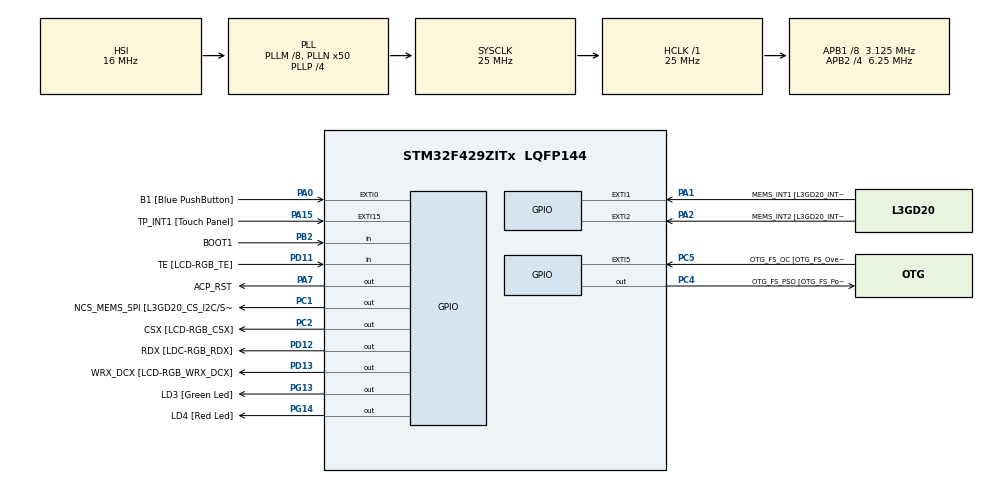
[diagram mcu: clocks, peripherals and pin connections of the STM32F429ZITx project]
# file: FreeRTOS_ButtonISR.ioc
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Mcu.Family=STM32F4
Mcu.Name=STM32F429ZITx
Mcu.Package=LQFP144
NVIC.EXTI0_IRQn=true\:6\:0\:true\:false\:true\:true\:true\:true
NVIC.PriorityGroup=NVIC_PRIORITYGROUP_4
NVIC.TIM6_DAC_IRQn=true\:0\:0\:false\:false\:true\:false\:true\:true
NVIC.TimeBase=TIM6_DAC_IRQn
NVIC.TimeBaseIP=TIM6
PA0/WKUP.GPIO_Label=B1 [Blue PushButton]
PA0/WKUP.GPIO_ModeDefaultEXTI=GPIO_MODE_IT_FALLING
PA0/WKUP.GPIO_PuPd=GPIO_NOPULL
PA0/WKUP.Signal=GPXTI0
PA1.GPIO_Label=MEMS_INT1 [L3GD20_INT1]
PA1.GPIO_ModeDefaultEXTI=GPIO_MODE_EVT_RISING
PA1.GPIO_PuPd=GPIO_NOPULL
PA1.Signal=GPXTI1
PA10.GPIO_Label=STLINK_TX [STM32F103CBT6_PA2]
PA10.Signal=USART1_RX
PA11.GPIO_Label=R4
PA11.GPIO_Mode=GPIO_MODE_AF_PP
PA11.GPIO_PuPd=GPIO_NOPULL
PA11.GPIO_Speed=GPIO_SPEED_FREQ_LOW
PA11.Signal=LTDC_R4
PA12.GPIO_Label=R5
PA12.GPIO_Mode=GPIO_MODE_AF_PP
PA12.GPIO_PuPd=GPIO_NOPULL
PA12.GPIO_Speed=GPIO_SPEED_FREQ_LOW
PA12.Signal=LTDC_R5
PA13.GPIO_Label=SWDIO
PA13.Mode=Serial_Wire
PA13.Signal=SYS_JTMS-SWDIO
PA14.GPIO_Label=SWCLK
PA14.Mode=Serial_Wire
PA14.Signal=SYS_JTCK-SWCLK
PA15.GPIO_Label=TP_INT1 [Touch Panel]
PA15.GPIO_ModeDefaultEXTI=GPIO_MODE_EVT_RISING
PA15.GPIO_PuPd=GPIO_NOPULL
PA15.Signal=GPXTI15
PA2.GPIO_Label=MEMS_INT2 [L3GD20_INT2]
PA2.GPIO_ModeDefaultEXTI=GPIO_MODE_EVT_RISING
PA2.GPIO_PuPd=GPIO_NOPULL
PA2.Signal=GPXTI2
PA3.GPIO_Label=B5
PA3.GPIO_Mode=GPIO_MODE_AF_PP
PA3.GPIO_PuPd=GPIO_NOPULL
PA3.GPIO_Speed=GPIO_SPEED_FREQ_LOW
PA3.Signal=LTDC_B5
PA4.GPIO_Label=VSYNC
PA4.GPIO_Mode=GPIO_MODE_AF_PP
PA4.GPIO_PuPd=GPIO_NOPULL
PA4.GPIO_Speed=GPIO_SPEED_FREQ_LOW
PA4.Signal=LTDC_VSYNC
PA6.GPIO_Label=G2
PA6.GPIO_Mode=GPIO_MODE_AF_PP
PA6.GPIO_PuPd=GPIO_NOPULL
PA6.GPIO_Speed=GPIO_SPEED_FREQ_LOW
PA6.Signal=LTDC_G2
PA7.GPIO_Label=ACP_RST
PA7.GPIO_Mode=GPIO_MODE_OUTPUT_PP
PA7.GPIO_PuPd=GPIO_NOPULL
PA7.GPIO_Speed=GPIO_SPEED_FREQ_LOW
PA7.Signal=GPIO_Output
PA8.GPIO_Label=I2C3_SCL [ACP/RF_SCL]
PA8.GPIO_Mode=GPIO_MODE_AF_OD
PA8.GPIO_PuPd=GPIO_NOPULL
PA8.GPIO_Speed=GPIO_SPEED_FREQ_LOW
PA8.Signal=I2C3_SCL
PA9.GPIO_Label=STLINK_RX [STM32F103CBT6_PA3]
PA9.Signal=USART1_TX
PB0.GPIO_Label=R3
PB0.GPIO_Mode=GPIO_MODE_AF_PP
PB0.GPIO_PuPd=GPIO_NOPULL
PB0.GPIO_Speed=GPIO_SPEED_FREQ_LOW
PB0.Signal=LTDC_R3
PB1.GPIO_Label=R6
PB1.GPIO_Mode=GPIO_MODE_AF_PP
PB1.GPIO_PuPd=GPIO_NOPULL
PB1.GPIO_Speed=GPIO_SPEED_FREQ_LOW
PB1.Signal=LTDC_R6
PB10.GPIO_Label=G4
PB10.GPIO_Mode=GPIO_MODE_AF_PP
PB10.GPIO_PuPd=GPIO_NOPULL
PB10.GPIO_Speed=GPIO_SPEED_FREQ_LOW
PB10.Signal=LTDC_G4
PB11.GPIO_Label=G5
PB11.GPIO_Mode=GPIO_MODE_AF_PP
PB11.GPIO_PuPd=GPIO_NOPULL
PB11.GPIO_Speed=GPIO_SPEED_FREQ_LOW
PB11.Signal=LTDC_G5
PB12.GPIO_Label=OTG_HS_ID
PB12.GPIO_Mode=GPIO_MODE_AF_PP
PB12.GPIO_PuPd=GPIO_NOPULL
PB12.GPIO_Speed=GPIO_SPEED_FREQ_LOW
PB12.Signal=USB_OTG_HS_ID
PB13.GPIO_Label=VBUS_HS
PB13.GPIO_Mode=GPIO_MODE_INPUT
PB13.GPIO_PuPd=GPIO_NOPULL
PB13.Signal=USB_OTG_HS_VBUS
PB14.GPIO_Label=OTG_HS_DM
PB14.GPIO_Mode=GPIO_MODE_AF_PP
PB14.GPIO_PuPd=GPIO_NOPULL
PB14.GPIO_Speed=GPIO_SPEED_FREQ_LOW
PB14.Signal=USB_OTG_HS_DM
PB15.GPIO_Label=OTG_HS_DP
PB15.GPIO_Mode=GPIO_MODE_AF_PP
PB15.GPIO_PuPd=GPIO_NOPULL
PB15.GPIO_Speed=GPIO_SPEED_FREQ_LOW
PB15.Signal=USB_OTG_HS_DP
PB2/BOOT1.GPIO_Label=BOOT1
PB2/BOOT1.GPIO_Mode=GPIO_MODE_INPUT
PB2/BOOT1.GPIO_PuPd=GPIO_NOPULL
PB2/BOOT1.Signal=GPIO_Input
PB5.GPIO_Label=SDCKE1
PB5.GPIO_Mode=GPIO_MODE_AF_PP
PB5.GPIO_PuPd=GPIO_NOPULL
PB5.GPIO_Speed=GPIO_SPEED_FREQ_VERY_HIGH
PB5.Signal=FMC_SDCKE1
PB6.GPIO_Label=SDNE1 [SDRAM_CS]
PB6.GPIO_Mode=GPIO_MODE_AF_PP
PB6.GPIO_PuPd=GPIO_NOPULL
PB6.GPIO_Speed=GPIO_SPEED_FREQ_VERY_HIGH
PB6.Signal=FMC_SDNE1
PB8.GPIO_Label=B6
PB8.GPIO_Mode=GPIO_MODE_AF_PP
PB8.GPIO_PuPd=GPIO_NOPULL
PB8.GPIO_Speed=GPIO_SPEED_FREQ_LOW
PB8.Signal=LTDC_B6
PB9.GPIO_Label=B7
PB9.GPIO_Mode=GPIO_MODE_AF_PP
PB9.GPIO_PuPd=GPIO_NOPULL
PB9.GPIO_Speed=GPIO_SPEED_FREQ_LOW
PB9.Signal=LTDC_B7
PC0.GPIO_Label=SDNWE
PC0.GPIO_Mode=GPIO_MODE_AF_PP
PC0.GPIO_PuPd=GPIO_NOPULL
PC0.GPIO_Speed=GPIO_SPEED_FREQ_VERY_HIGH
PC0.Signal=FMC_SDNWE
PC1.GPIO_Label=NCS_MEMS_SPI [L3GD20_CS_I2C/SPI]
PC1.GPIO_Mode=GPIO_MODE_OUTPUT_PP
PC1.GPIO_PuPd=GPIO_NOPULL
PC1.GPIO_Speed=GPIO_SPEED_FREQ_LOW
PC1.Signal=GPIO_Output
PC10.GPIO_Label=R2
PC10.GPIO_Mode=GPIO_MODE_AF_PP
PC10.GPIO_PuPd=GPIO_NOPULL
PC10.GPIO_Speed=GPIO_SPEED_FREQ_LOW
PC10.Signal=LTDC_R2
PC14/OSC32_IN.GPIO_Label=PC14-OSC32_IN
PC14/OSC32_IN.Signal=RCC_OSC32_IN
PC15/OSC32_OUT.GPIO_Label=PC15-OSC32_OUT
PC15/OSC32_OUT.Signal=RCC_OSC32_OUT
PC2.GPIO_Label=CSX [LCD-RGB_CSX]
PC2.GPIO_Mode=GPIO_MODE_OUTPUT_PP
PC2.GPIO_PuPd=GPIO_NOPULL
PC2.GPIO_Speed=GPIO_SPEED_FREQ_LOW
PC2.Signal=GPIO_Output
PC4.GPIO_Label=OTG_FS_PSO [OTG_FS_PowerSwitchOn]
PC4.GPIO_Mode=GPIO_MODE_OUTPUT_PP
PC4.GPIO_PuPd=GPIO_NOPULL
PC4.GPIO_Speed=GPIO_SPEED_FREQ_LOW
PC4.Signal=GPIO_Output
PC5.GPIO_Label=OTG_FS_OC [OTG_FS_OverCurrent]
PC5.GPIO_ModeDefaultEXTI=GPIO_MODE_EVT_RISING
PC5.Signal=GPXTI5
PC6.GPIO_Label=HSYNC
PC6.GPIO_Mode=GPIO_MODE_AF_PP
PC6.GPIO_PuPd=GPIO_NOPULL
PC6.GPIO_Speed=GPIO_SPEED_FREQ_LOW
PC6.Signal=LTDC_HSYNC
PC7.GPIO_Label=G6
PC7.GPIO_Mode=GPIO_MODE_AF_PP
PC7.GPIO_PuPd=GPIO_NOPULL
PC7.GPIO_Speed=GPIO_SPEED_FREQ_LOW
PC7.Signal=LTDC_G6
PC9.GPIO_Label=I2C3_SDA [ACP/RF_SDA]
PC9.GPIO_Mode=GPIO_MODE_AF_OD
PC9.GPIO_PuPd=GPIO_NOPULL
PC9.GPIO_Speed=GPIO_SPEED_FREQ_LOW
PC9.Signal=I2C3_SDA
PD0.GPIO_Label=D2
PD0.GPIO_Mode=GPIO_MODE_AF_PP
PD0.GPIO_PuPd=GPIO_NOPULL
PD0.GPIO_Speed=GPIO_SPEED_FREQ_VERY_HIGH
PD0.Signal=FMC_D2_DA2
PD1.GPIO_Label=D3
PD1.GPIO_Mode=GPIO_MODE_AF_PP
PD1.GPIO_PuPd=GPIO_NOPULL
PD1.GPIO_Speed=GPIO_SPEED_FREQ_VERY_HIGH
PD1.Signal=FMC_D3_DA3
PD10.GPIO_Label=D15
PD10.GPIO_Mode=GPIO_MODE_AF_PP
PD10.GPIO_PuPd=GPIO_NOPULL
PD10.GPIO_Speed=GPIO_SPEED_FREQ_VERY_HIGH
PD10.Signal=FMC_D15_DA15
PD11.GPIO_Label=TE [LCD-RGB_TE]
PD11.GPIO_Mode=GPIO_MODE_INPUT
PD11.GPIO_PuPd=GPIO_NOPULL
PD11.Signal=GPIO_Input
PD12.GPIO_Label=RDX [LDC-RGB_RDX]
PD12.GPIO_Mode=GPIO_MODE_OUTPUT_PP
PD12.GPIO_PuPd=GPIO_NOPULL
PD12.GPIO_Speed=GPIO_SPEED_FREQ_LOW
PD12.Signal=GPIO_Output
PD13.GPIO_Label=WRX_DCX [LCD-RGB_WRX_DCX]
PD13.GPIO_Mode=GPIO_MODE_OUTPUT_PP
PD13.GPIO_PuPd=GPIO_NOPULL
PD13.GPIO_Speed=GPIO_SPEED_FREQ_LOW
PD13.Signal=GPIO_Output
PD14.GPIO_Label=D0
PD14.GPIO_Mode=GPIO_MODE_AF_PP
PD14.GPIO_PuPd=GPIO_NOPULL
PD14.GPIO_Speed=GPIO_SPEED_FREQ_VERY_HIGH
PD14.Signal=FMC_D0_DA0
PD15.GPIO_Label=D1
PD15.GPIO_Mode=GPIO_MODE_AF_PP
PD15.GPIO_PuPd=GPIO_NOPULL
PD15.GPIO_Speed=GPIO_SPEED_FREQ_VERY_HIGH
PD15.Signal=FMC_D1_DA1
PD3.GPIO_Label=G7
PD3.GPIO_Mode=GPIO_MODE_AF_PP
PD3.GPIO_PuPd=GPIO_NOPULL
PD3.GPIO_Speed=GPIO_SPEED_FREQ_LOW
PD3.Signal=LTDC_G7
PD6.GPIO_Label=B2
PD6.GPIO_Mode=GPIO_MODE_AF_PP
PD6.GPIO_PuPd=GPIO_NOPULL
PD6.GPIO_Speed=GPIO_SPEED_FREQ_LOW
PD6.Signal=LTDC_B2
PD8.GPIO_Label=D13
PD8.GPIO_Mode=GPIO_MODE_AF_PP
PD8.GPIO_PuPd=GPIO_NOPULL
PD8.GPIO_Speed=GPIO_SPEED_FREQ_VERY_HIGH
PD8.Signal=FMC_D13_DA13
PD9.GPIO_Label=D14
PD9.GPIO_Mode=GPIO_MODE_AF_PP
PD9.GPIO_PuPd=GPIO_NOPULL
PD9.GPIO_Speed=GPIO_SPEED_FREQ_VERY_HIGH
PD9.Signal=FMC_D14_DA14
PE0.GPIO_Label=NBL0 [SDRAM_LDQM]
PE0.GPIO_Mode=GPIO_MODE_AF_PP
PE0.GPIO_PuPd=GPIO_NOPULL
PE0.GPIO_Speed=GPIO_SPEED_FREQ_VERY_HIGH
PE0.Signal=FMC_NBL0
PE1.GPIO_Label=NBL1 [SDRAM_UDQM]
PE1.GPIO_Mode=GPIO_MODE_AF_PP
PE1.GPIO_PuPd=GPIO_NOPULL
PE1.GPIO_Speed=GPIO_SPEED_FREQ_VERY_HIGH
PE1.Signal=FMC_NBL1
PE10.GPIO_Label=D7
PE10.GPIO_Mode=GPIO_MODE_AF_PP
PE10.GPIO_PuPd=GPIO_NOPULL
PE10.GPIO_Speed=GPIO_SPEED_FREQ_VERY_HIGH
PE10.Signal=FMC_D7_DA7
PE11.GPIO_Label=D8
PE11.GPIO_Mode=GPIO_MODE_AF_PP
PE11.GPIO_PuPd=GPIO_NOPULL
PE11.GPIO_Speed=GPIO_SPEED_FREQ_VERY_HIGH
PE11.Signal=FMC_D8_DA8
PE12.GPIO_Label=D9
PE12.GPIO_Mode=GPIO_MODE_AF_PP
PE12.GPIO_PuPd=GPIO_NOPULL
PE12.GPIO_Speed=GPIO_SPEED_FREQ_VERY_HIGH
PE12.Signal=FMC_D9_DA9
PE13.GPIO_Label=D10
PE13.GPIO_Mode=GPIO_MODE_AF_PP
PE13.GPIO_PuPd=GPIO_NOPULL
PE13.GPIO_Speed=GPIO_SPEED_FREQ_VERY_HIGH
PE13.Signal=FMC_D10_DA10
PE14.GPIO_Label=D11
PE14.GPIO_Mode=GPIO_MODE_AF_PP
PE14.GPIO_PuPd=GPIO_NOPULL
PE14.GPIO_Speed=GPIO_SPEED_FREQ_VERY_HIGH
PE14.Signal=FMC_D11_DA11
PE15.GPIO_Label=D12
PE15.GPIO_Mode=GPIO_MODE_AF_PP
PE15.GPIO_PuPd=GPIO_NOPULL
PE15.GPIO_Speed=GPIO_SPEED_FREQ_VERY_HIGH
PE15.Signal=FMC_D12_DA12
PE7.GPIO_Label=D4
PE7.GPIO_Mode=GPIO_MODE_AF_PP
PE7.GPIO_PuPd=GPIO_NOPULL
PE7.GPIO_Speed=GPIO_SPEED_FREQ_VERY_HIGH
PE7.Signal=FMC_D4_DA4
PE8.GPIO_Label=D5
PE8.GPIO_Mode=GPIO_MODE_AF_PP
PE8.GPIO_PuPd=GPIO_NOPULL
PE8.GPIO_Speed=GPIO_SPEED_FREQ_VERY_HIGH
PE8.Signal=FMC_D5_DA5
PE9.GPIO_Label=D6
PE9.GPIO_Mode=GPIO_MODE_AF_PP
PE9.GPIO_PuPd=GPIO_NOPULL
PE9.GPIO_Speed=GPIO_SPEED_FREQ_VERY_HIGH
PE9.Signal=FMC_D6_DA6
PF0.GPIO_Label=A0
PF0.GPIO_Mode=GPIO_MODE_AF_PP
PF0.GPIO_PuPd=GPIO_NOPULL
PF0.GPIO_Speed=GPIO_SPEED_FREQ_VERY_HIGH
PF0.Signal=FMC_A0
PF1.GPIO_Label=A1
PF1.GPIO_Mode=GPIO_MODE_AF_PP
PF1.GPIO_PuPd=GPIO_NOPULL
PF1.GPIO_Speed=GPIO_SPEED_FREQ_VERY_HIGH
PF1.Signal=FMC_A1
PF10.GPIO_Label=ENABLE [LCD-RGB_ENABLE]
PF10.GPIO_Mode=GPIO_MODE_AF_PP
PF10.GPIO_PuPd=GPIO_NOPULL
PF10.GPIO_Speed=GPIO_SPEED_FREQ_LOW
PF10.Signal=LTDC_DE
PF11.GPIO_Label=SDNRAS
PF11.GPIO_Mode=GPIO_MODE_AF_PP
PF11.GPIO_PuPd=GPIO_NOPULL
PF11.GPIO_Speed=GPIO_SPEED_FREQ_VERY_HIGH
PF11.Signal=FMC_SDNRAS
PF12.GPIO_Label=A6
PF12.GPIO_Mode=GPIO_MODE_AF_PP
PF12.GPIO_PuPd=GPIO_NOPULL
PF12.GPIO_Speed=GPIO_SPEED_FREQ_VERY_HIGH
PF12.Signal=FMC_A6
PF13.GPIO_Label=A7
PF13.GPIO_Mode=GPIO_MODE_AF_PP
PF13.GPIO_PuPd=GPIO_NOPULL
PF13.GPIO_Speed=GPIO_SPEED_FREQ_VERY_HIGH
PF13.Signal=FMC_A7
PF14.GPIO_Label=A8
PF14.GPIO_Mode=GPIO_MODE_AF_PP
PF14.GPIO_PuPd=GPIO_NOPULL
PF14.GPIO_Speed=GPIO_SPEED_FREQ_VERY_HIGH
PF14.Signal=FMC_A8
PF15.GPIO_Label=A9
PF15.GPIO_Mode=GPIO_MODE_AF_PP
PF15.GPIO_PuPd=GPIO_NOPULL
PF15.GPIO_Speed=GPIO_SPEED_FREQ_VERY_HIGH
PF15.Signal=FMC_A9
PF2.GPIO_Label=A2
PF2.GPIO_Mode=GPIO_MODE_AF_PP
PF2.GPIO_PuPd=GPIO_NOPULL
PF2.GPIO_Speed=GPIO_SPEED_FREQ_VERY_HIGH
PF2.Signal=FMC_A2
PF3.GPIO_Label=A3
PF3.GPIO_Mode=GPIO_MODE_AF_PP
PF3.GPIO_PuPd=GPIO_NOPULL
PF3.GPIO_Speed=GPIO_SPEED_FREQ_VERY_HIGH
PF3.Signal=FMC_A3
PF4.GPIO_Label=A4
PF4.GPIO_Mode=GPIO_MODE_AF_PP
PF4.GPIO_PuPd=GPIO_NOPULL
PF4.GPIO_Speed=GPIO_SPEED_FREQ_VERY_HIGH
PF4.Signal=FMC_A4
PF5.GPIO_Label=A5
PF5.GPIO_Mode=GPIO_MODE_AF_PP
PF5.GPIO_PuPd=GPIO_NOPULL
PF5.GPIO_Speed=GPIO_SPEED_FREQ_VERY_HIGH
PF5.Signal=FMC_A5
PF7.GPIO_Label=SPI5_SCK [L3GD20_SCL/SPC]
PF7.GPIO_Mode=GPIO_MODE_AF_PP
PF7.GPIO_PuPd=GPIO_NOPULL
PF7.GPIO_Speed=GPIO_SPEED_FREQ_LOW
PF7.Signal=SPI5_SCK
PF8.GPIO_Label=SPI5_MISO [L3GD20_SDO]
PF8.GPIO_Mode=GPIO_MODE_AF_PP
PF8.GPIO_PuPd=GPIO_NOPULL
PF8.GPIO_Speed=GPIO_SPEED_FREQ_LOW
PF8.Signal=SPI5_MISO
PF9.GPIO_Label=SPI5_MOSI [L3GD20_SDA/SDI/SDO]
PF9.GPIO_Mode=GPIO_MODE_AF_PP
PF9.GPIO_PuPd=GPIO_NOPULL
PF9.GPIO_Speed=GPIO_SPEED_FREQ_LOW
PF9.Signal=SPI5_MOSI
PG0.GPIO_Label=A10
PG0.GPIO_Mode=GPIO_MODE_AF_PP
PG0.GPIO_PuPd=GPIO_NOPULL
PG0.GPIO_Speed=GPIO_SPEED_FREQ_VERY_HIGH
PG0.Signal=FMC_A10
PG1.GPIO_Label=A11
PG1.GPIO_Mode=GPIO_MODE_AF_PP
PG1.GPIO_PuPd=GPIO_NOPULL
PG1.GPIO_Speed=GPIO_SPEED_FREQ_VERY_HIGH
PG1.Signal=FMC_A11
PG10.GPIO_Label=G3
PG10.GPIO_Mode=GPIO_MODE_AF_PP
PG10.GPIO_PuPd=GPIO_NOPULL
PG10.GPIO_Speed=GPIO_SPEED_FREQ_LOW
PG10.Signal=LTDC_G3
PG11.GPIO_Label=B3
PG11.GPIO_Mode=GPIO_MODE_AF_PP
PG11.GPIO_PuPd=GPIO_NOPULL
PG11.GPIO_Speed=GPIO_SPEED_FREQ_LOW
PG11.Signal=LTDC_B3
PG12.GPIO_Label=B4
PG12.GPIO_Mode=GPIO_MODE_AF_PP
PG12.GPIO_PuPd=GPIO_NOPULL
PG12.GPIO_Speed=GPIO_SPEED_FREQ_LOW
PG12.Signal=LTDC_B4
PG13.GPIO_Label=LD3 [Green Led]
PG13.GPIO_Mode=GPIO_MODE_OUTPUT_PP
PG13.GPIO_PuPd=GPIO_NOPULL
PG13.GPIO_Speed=GPIO_SPEED_FREQ_LOW
PG13.Signal=GPIO_Output
PG14.GPIO_Label=LD4 [Red Led]
PG14.GPIO_Mode=GPIO_MODE_OUTPUT_PP
PG14.GPIO_PuPd=GPIO_NOPULL
PG14.GPIO_Speed=GPIO_SPEED_FREQ_LOW
PG14.Signal=GPIO_Output
PG15.GPIO_Label=SDNCAS
PG15.GPIO_Mode=GPIO_MODE_AF_PP
PG15.GPIO_PuPd=GPIO_NOPULL
PG15.GPIO_Speed=GPIO_SPEED_FREQ_VERY_HIGH
PG15.Signal=FMC_SDNCAS
PG4.GPIO_Label=BA0
PG4.GPIO_Mode=GPIO_MODE_AF_PP
PG4.GPIO_PuPd=GPIO_NOPULL
PG4.GPIO_Speed=GPIO_SPEED_FREQ_VERY_HIGH
PG4.Signal=FMC_A14_BA0
PG5.GPIO_Label=BA1
PG5.GPIO_Mode=GPIO_MODE_AF_PP
PG5.GPIO_PuPd=GPIO_NOPULL
PG5.GPIO_Speed=GPIO_SPEED_FREQ_VERY_HIGH
PG5.Signal=FMC_A15_BA1
PG6.GPIO_Label=R7
PG6.GPIO_Mode=GPIO_MODE_AF_PP
PG6.GPIO_PuPd=GPIO_NOPULL
PG6.GPIO_Speed=GPIO_SPEED_FREQ_LOW
PG6.Signal=LTDC_R7
PG7.GPIO_Label=DOTCLK [LCT-RGB_DOTCLK]
PG7.GPIO_Mode=GPIO_MODE_AF_PP
PG7.GPIO_PuPd=GPIO_NOPULL
PG7.GPIO_Speed=GPIO_SPEED_FREQ_LOW
PG7.Signal=LTDC_CLK
PG8.GPIO_Label=SDCLK
PG8.GPIO_Mode=GPIO_MODE_AF_PP
PG8.GPIO_PuPd=GPIO_NOPULL
PG8.GPIO_Speed=GPIO_SPEED_FREQ_VERY_HIGH
PG8.Signal=FMC_SDCLK
PH0/OSC_IN.GPIO_Label=PH0-OSC_IN
PH0/OSC_IN.Signal=RCC_OSC_IN
PH1/OSC_OUT.GPIO_Label=PH1-OSC_OUT
PH1/OSC_OUT.Signal=RCC_OSC_OUT
ProjectManager.HeapSize=0x200
ProjectManager.StackSize=0x400
ProjectManager.TargetToolchain=STM32CubeIDE
RCC.48MHZClocksFreq_Value=14285714.285714285
RCC.AHBFreq_Value=25000000
RCC.APB1CLKDivider=RCC_HCLK_DIV8
RCC.APB1Freq_Value=3125000
RCC.APB1TimFreq_Value=6250000
RCC.APB2CLKDivider=RCC_HCLK_DIV4
RCC.APB2Freq_Value=6250000
RCC.APB2TimFreq_Value=12500000
RCC.CortexFreq_Value=25000000
RCC.HCLKFreq_Value=25000000
RCC.HSE_VALUE=8000000
RCC.HSI_VALUE=16000000
RCC.LSE_VALUE=32768
RCC.PLLM=8
RCC.PLLN=50
RCC.PLLP=RCC_PLLP_DIV4
RCC.PLLQ=7
RCC.SYSCLKFreq_VALUE=25000000
RCC.SYSCLKSource=RCC_SYSCLKSOURCE_PLLCLK
RCC.VCOOutputFreq_Value=100000000
SH.FMC_A0.0=FMC_A0
SH.FMC_A1.0=FMC_A1
SH.FMC_A10.0=FMC_A10
SH.FMC_A11.0=FMC_A11
SH.FMC_A14_BA0.0=FMC_BA0
SH.FMC_A15_BA1.0=FMC_BA1
SH.FMC_A2.0=FMC_A2
SH.FMC_A3.0=FMC_A3
SH.FMC_A4.0=FMC_A4
SH.FMC_A5.0=FMC_A5
SH.FMC_A6.0=FMC_A6
SH.FMC_A7.0=FMC_A7
SH.FMC_A8.0=FMC_A8
SH.FMC_A9.0=FMC_A9
SH.FMC_D0_DA0.0=FMC_D0
SH.FMC_D10_DA10.0=FMC_D10
SH.FMC_D11_DA11.0=FMC_D11
SH.FMC_D12_DA12.0=FMC_D12
SH.FMC_D13_DA13.0=FMC_D13
SH.FMC_D14_DA14.0=FMC_D14
SH.FMC_D15_DA15.0=FMC_D15
SH.FMC_D1_DA1.0=FMC_D1
SH.FMC_D2_DA2.0=FMC_D2
SH.FMC_D3_DA3.0=FMC_D3
SH.FMC_D4_DA4.0=FMC_D4
SH.FMC_D5_DA5.0=FMC_D5
SH.FMC_D6_DA6.0=FMC_D6
SH.FMC_D7_DA7.0=FMC_D7
SH.FMC_D8_DA8.0=FMC_D8
SH.FMC_D9_DA9.0=FMC_D9
SH.FMC_NBL0.0=FMC_NBL0
SH.FMC_NBL1.0=FMC_NBL1
SH.FMC_SDCLK.0=FMC_SDCLK
SH.FMC_SDNCAS.0=FMC_SDNCAS
SH.FMC_SDNRAS.0=FMC_SDNRAS
SH.FMC_SDNWE.0=FMC_SDNWE
VP_SYS_VS_tim6.Mode=TIM6
board=STM32F429I-DISC1

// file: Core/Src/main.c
/* USER CODE BEGIN Header */
/**
  ******************************************************************************
  * @file           : main.c
  * @brief          : Main program body
  ******************************************************************************
  * @attention
  *
  * Copyright (c) 2022 STMicroelectronics.
  * All rights reserved.
  *
  * This software is licensed under terms that can be found in the LICENSE file
  * in the root directory of this software component.
  * If no LICENSE file comes with this software, it is provided AS-IS.
  *
  ******************************************************************************
  */
/* USER CODE END Header */
#include "main.h"

/* USER CODE BEGIN Includes */
#include "FreeRTOS.h"
#include "task.h"
#include <stdio.h>
#include "SEGGER_SYSVIEW.h"
/* USER CODE END Includes */

/* USER CODE BEGIN PM */
#define DWT_CTRL            (*(volatile uint32_t*)0xE0001000u)
/* USER CODE END PM */

void SystemClock_Config(void);
static void MX_GPIO_Init(void);
/* USER CODE BEGIN PFP */
static void GreenLED_TaskHandler( void* parameter);
static void RedLED_TaskHandler( void* parameter );
/* USER CODE END PFP */

/* USER CODE BEGIN 0 */
/* We need task handles to delete the tasks */
TaskHandle_t green_led_task_handle;
TaskHandle_t red_led_task_handle;
/* This is a global task handler to hold the handle of the next task to be deleted*/
volatile TaskHandle_t next_task_handle = NULL;
/* USER CODE END 0 */

int main(void)
{
  /* USER CODE BEGIN 1 */
  BaseType_t status;
  /* USER CODE END 1 */

  /* MCU Configuration--------------------------------------------------------*/

  /* Reset of all peripherals, Initializes the Flash interface and the Systick. */
  HAL_Init();

  /* Configure the system clock */
  SystemClock_Config();

  /* Initialize all configured peripherals */
  MX_GPIO_Init();
  /* USER CODE BEGIN 2 */
  /* Enable the Cycle Counter i.e. CYCCNT */
  DWT_CTRL |= (0x01 << 0);

  /* SystemView should be configured and start before using any FreeRTOS API's */
  SEGGER_SYSVIEW_Conf();
  SEGGER_SYSVIEW_Start();

  /* Create Task-1*/
  status = xTaskCreate(GreenLED_TaskHandler, "Green LED", 200, NULL, 2, &green_led_task_handle);
  configASSERT(status == pdPASS);
  /* Create Task-2*/
  status = xTaskCreate(RedLED_TaskHandler, "Red LED", 200, NULL, 2, &red_led_task_handle );
  configASSERT(status == pdPASS);

  /* Store the next on which we have to take action of deleting */
  next_task_handle = green_led_task_handle;

  /* Start the Scheduler */
  vTaskStartScheduler();
  /* control shouldn't come here, if it is coming then there is some problem */
  /* this failure can happen due to insufficient memory in heap */
  /* USER CODE END 2 */

  /* Infinite loop */
  while (1)
  {

  }
}

void SystemClock_Config(void)
{
  RCC_OscInitTypeDef RCC_OscInitStruct = {0};
  RCC_ClkInitTypeDef RCC_ClkInitStruct = {0};

  /** Configure the main internal regulator output voltage
  */
  __HAL_RCC_PWR_CLK_ENABLE();
  __HAL_PWR_VOLTAGESCALING_CONFIG(PWR_REGULATOR_VOLTAGE_SCALE3);

  /** Initializes the RCC Oscillators according to the specified parameters
  * in the RCC_OscInitTypeDef structure.
  */
  RCC_OscInitStruct.OscillatorType = RCC_OSCILLATORTYPE_HSI;
  RCC_OscInitStruct.HSIState = RCC_HSI_ON;
  RCC_OscInitStruct.HSICalibrationValue = RCC_HSICALIBRATION_DEFAULT;
  RCC_OscInitStruct.PLL.PLLState = RCC_PLL_ON;
  RCC_OscInitStruct.PLL.PLLSource = RCC_PLLSOURCE_HSI;
  RCC_OscInitStruct.PLL.PLLM = 8;
  RCC_OscInitStruct.PLL.PLLN = 50;
  RCC_OscInitStruct.PLL.PLLP = RCC_PLLP_DIV4;
  RCC_OscInitStruct.PLL.PLLQ = 7;
  if (HAL_RCC_OscConfig(&RCC_OscInitStruct) != HAL_OK)
  {
    Error_Handler();
  }

  /** Initializes the CPU, AHB and APB buses clocks
  */
  RCC_ClkInitStruct.ClockType = RCC_CLOCKTYPE_HCLK|RCC_CLOCKTYPE_SYSCLK
                              |RCC_CLOCKTYPE_PCLK1|RCC_CLOCKTYPE_PCLK2;
  RCC_ClkInitStruct.SYSCLKSource = RCC_SYSCLKSOURCE_PLLCLK;
  RCC_ClkInitStruct.AHBCLKDivider = RCC_SYSCLK_DIV1;
  RCC_ClkInitStruct.APB1CLKDivider = RCC_HCLK_DIV8;
  RCC_ClkInitStruct.APB2CLKDivider = RCC_HCLK_DIV4;

  if (HAL_RCC_ClockConfig(&RCC_ClkInitStruct, FLASH_LATENCY_0) != HAL_OK)
  {
    Error_Handler();
  }
}

static void MX_GPIO_Init(void)
{
  GPIO_InitTypeDef GPIO_InitStruct = {0};

  /* GPIO Ports Clock Enable */
  __HAL_RCC_GPIOC_CLK_ENABLE();
  __HAL_RCC_GPIOF_CLK_ENABLE();
  __HAL_RCC_GPIOH_CLK_ENABLE();
  __HAL_RCC_GPIOA_CLK_ENABLE();
  __HAL_RCC_GPIOB_CLK_ENABLE();
  __HAL_RCC_GPIOG_CLK_ENABLE();
  __HAL_RCC_GPIOE_CLK_ENABLE();
  __HAL_RCC_GPIOD_CLK_ENABLE();

  /*Configure GPIO pin Output Level */
  HAL_GPIO_WritePin(GPIOC, NCS_MEMS_SPI_Pin|CSX_Pin|OTG_FS_PSO_Pin, GPIO_PIN_RESET);

  /*Configure GPIO pin Output Level */
  HAL_GPIO_WritePin(ACP_RST_GPIO_Port, ACP_RST_Pin, GPIO_PIN_RESET);

  /*Configure GPIO pin Output Level */
  HAL_GPIO_WritePin(GPIOD, RDX_Pin|WRX_DCX_Pin, GPIO_PIN_RESET);

  /*Configure GPIO pin Output Level */
  HAL_GPIO_WritePin(GPIOG, LD3_Pin|LD4_Pin, GPIO_PIN_RESET);

  /*Configure GPIO pins : A0_Pin A1_Pin A2_Pin A3_Pin
                           A4_Pin A5_Pin SDNRAS_Pin A6_Pin
                           A7_Pin A8_Pin A9_Pin */
  GPIO_InitStruct.Pin = A0_Pin|A1_Pin|A2_Pin|A3_Pin
                          |A4_Pin|A5_Pin|SDNRAS_Pin|A6_Pin
                          |A7_Pin|A8_Pin|A9_Pin;
  GPIO_InitStruct.Mode = GPIO_MODE_AF_PP;
  GPIO_InitStruct.Pull = GPIO_NOPULL;
  GPIO_InitStruct.Speed = GPIO_SPEED_FREQ_VERY_HIGH;
  GPIO_InitStruct.Alternate = GPIO_AF12_FMC;
  HAL_GPIO_Init(GPIOF, &GPIO_InitStruct);

  /*Configure GPIO pins : SPI5_SCK_Pin SPI5_MISO_Pin SPI5_MOSI_Pin */
  GPIO_InitStruct.Pin = SPI5_SCK_Pin|SPI5_MISO_Pin|SPI5_MOSI_Pin;
  GPIO_InitStruct.Mode = GPIO_MODE_AF_PP;
  GPIO_InitStruct.Pull = GPIO_NOPULL;
  GPIO_InitStruct.Speed = GPIO_SPEED_FREQ_LOW;
  GPIO_InitStruct.Alternate = GPIO_AF5_SPI5;
  HAL_GPIO_Init(GPIOF, &GPIO_InitStruct);

  /*Configure GPIO pin : ENABLE_Pin */
  GPIO_InitStruct.Pin = ENABLE_Pin;
  GPIO_InitStruct.Mode = GPIO_MODE_AF_PP;
  GPIO_InitStruct.Pull = GPIO_NOPULL;
  GPIO_InitStruct.Speed = GPIO_SPEED_FREQ_LOW;
  GPIO_InitStruct.Alternate = GPIO_AF14_LTDC;
  HAL_GPIO_Init(ENABLE_GPIO_Port, &GPIO_InitStruct);

  /*Configure GPIO pin : SDNWE_Pin */
  GPIO_InitStruct.Pin = SDNWE_Pin;
  GPIO_InitStruct.Mode = GPIO_MODE_AF_PP;
  GPIO_InitStruct.Pull = GPIO_NOPULL;
  GPIO_InitStruct.Speed = GPIO_SPEED_FREQ_VERY_HIGH;
  GPIO_InitStruct.Alternate = GPIO_AF12_FMC;
  HAL_GPIO_Init(SDNWE_GPIO_Port, &GPIO_InitStruct);

  /*Configure GPIO pins : NCS_MEMS_SPI_Pin CSX_Pin OTG_FS_PSO_Pin */
  GPIO_InitStruct.Pin = NCS_MEMS_SPI_Pin|CSX_Pin|OTG_FS_PSO_Pin;
  GPIO_InitStruct.Mode = GPIO_MODE_OUTPUT_PP;
  GPIO_InitStruct.Pull = GPIO_NOPULL;
  GPIO_InitStruct.Speed = GPIO_SPEED_FREQ_LOW;
  HAL_GPIO_Init(GPIOC, &GPIO_InitStruct);

  /*Configure GPIO pin : B1_Pin */
  GPIO_InitStruct.Pin = B1_Pin;
  GPIO_InitStruct.Mode = GPIO_MODE_IT_FALLING;
  GPIO_InitStruct.Pull = GPIO_NOPULL;
  HAL_GPIO_Init(B1_GPIO_Port, &GPIO_InitStruct);

  /*Configure GPIO pins : MEMS_INT1_Pin MEMS_INT2_Pin TP_INT1_Pin */
  GPIO_InitStruct.Pin = MEMS_INT1_Pin|MEMS_INT2_Pin|TP_INT1_Pin;
  GPIO_InitStruct.Mode = GPIO_MODE_EVT_RISING;
  GPIO_InitStruct.Pull = GPIO_NOPULL;
  HAL_GPIO_Init(GPIOA, &GPIO_InitStruct);

  /*Configure GPIO pins : B5_Pin VSYNC_Pin G2_Pin R4_Pin
                           R5_Pin */
  GPIO_InitStruct.Pin = B5_Pin|VSYNC_Pin|G2_Pin|R4_Pin
                          |R5_Pin;
  GPIO_InitStruct.Mode = GPIO_MODE_AF_PP;
  GPIO_InitStruct.Pull = GPIO_NOPULL;
  GPIO_InitStruct.Speed = GPIO_SPEED_FREQ_LOW;
  GPIO_InitStruct.Alternate = GPIO_AF14_LTDC;
  HAL_GPIO_Init(GPIOA, &GPIO_InitStruct);

  /*Configure GPIO pin : ACP_RST_Pin */
  GPIO_InitStruct.Pin = ACP_RST_Pin;
  GPIO_InitStruct.Mode = GPIO_MODE_OUTPUT_PP;
  GPIO_InitStruct.Pull = GPIO_NOPULL;
  GPIO_InitStruct.Speed = GPIO_SPEED_FREQ_LOW;
  HAL_GPIO_Init(ACP_RST_GPIO_Port, &GPIO_InitStruct);

  /*Configure GPIO pin : OTG_FS_OC_Pin */
  GPIO_InitStruct.Pin = OTG_FS_OC_Pin;
  GPIO_InitStruct.Mode = GPIO_MODE_EVT_RISING;
  GPIO_InitStruct.Pull = GPIO_NOPULL;
  HAL_GPIO_Init(OTG_FS_OC_GPIO_Port, &GPIO_InitStruct);

  /*Configure GPIO pins : R3_Pin R6_Pin */
  GPIO_InitStruct.Pin = R3_Pin|R6_Pin;
  GPIO_InitStruct.Mode = GPIO_MODE_AF_PP;
  GPIO_InitStruct.Pull = GPIO_NOPULL;
  GPIO_InitStruct.Speed = GPIO_SPEED_FREQ_LOW;
  GPIO_InitStruct.Alternate = GPIO_AF9_LTDC;
  HAL_GPIO_Init(GPIOB, &GPIO_InitStruct);

  /*Configure GPIO pin : BOOT1_Pin */
  GPIO_InitStruct.Pin = BOOT1_Pin;
  GPIO_InitStruct.Mode = GPIO_MODE_INPUT;
  GPIO_InitStruct.Pull = GPIO_NOPULL;
  HAL_GPIO_Init(BOOT1_GPIO_Port, &GPIO_InitStruct);

  /*Configure GPIO pins : A10_Pin A11_Pin BA0_Pin BA1_Pin
                           SDCLK_Pin SDNCAS_Pin */
  GPIO_InitStruct.Pin = A10_Pin|A11_Pin|BA0_Pin|BA1_Pin
                          |SDCLK_Pin|SDNCAS_Pin;
  GPIO_InitStruct.Mode = GPIO_MODE_AF_PP;
  GPIO_InitStruct.Pull = GPIO_NOPULL;
  GPIO_InitStruct.Speed = GPIO_SPEED_FREQ_VERY_HIGH;
  GPIO_InitStruct.Alternate = GPIO_AF12_FMC;
  HAL_GPIO_Init(GPIOG, &GPIO_InitStruct);

  /*Configure GPIO pins : D4_Pin D5_Pin D6_Pin D7_Pin
                           D8_Pin D9_Pin D10_Pin D11_Pin
                           D12_Pin NBL0_Pin NBL1_Pin */
  GPIO_InitStruct.Pin = D4_Pin|D5_Pin|D6_Pin|D7_Pin
                          |D8_Pin|D9_Pin|D10_Pin|D11_Pin
                          |D12_Pin|NBL0_Pin|NBL1_Pin;
  GPIO_InitStruct.Mode = GPIO_MODE_AF_PP;
  GPIO_InitStruct.Pull = GPIO_NOPULL;
  GPIO_InitStruct.Speed = GPIO_SPEED_FREQ_VERY_HIGH;
  GPIO_InitStruct.Alternate = GPIO_AF12_FMC;
  HAL_GPIO_Init(GPIOE, &GPIO_InitStruct);

  /*Configure GPIO pins : G4_Pin G5_Pin B6_Pin B7_Pin */
  GPIO_InitStruct.Pin = G4_Pin|G5_Pin|B6_Pin|B7_Pin;
  GPIO_InitStruct.Mode = GPIO_MODE_AF_PP;
  GPIO_InitStruct.Pull = GPIO_NOPULL;
  GPIO_InitStruct.Speed = GPIO_SPEED_FREQ_LOW;
  GPIO_InitStruct.Alternate = GPIO_AF14_LTDC;
  HAL_GPIO_Init(GPIOB, &GPIO_InitStruct);

  /*Configure GPIO pins : OTG_HS_ID_Pin OTG_HS_DM_Pin OTG_HS_DP_Pin */
  GPIO_InitStruct.Pin = OTG_HS_ID_Pin|OTG_HS_DM_Pin|OTG_HS_DP_Pin;
  GPIO_InitStruct.Mode = GPIO_MODE_AF_PP;
  GPIO_InitStruct.Pull = GPIO_NOPULL;
  GPIO_InitStruct.Speed = GPIO_SPEED_FREQ_LOW;
  GPIO_InitStruct.Alternate = GPIO_AF12_OTG_HS_FS;
  HAL_GPIO_Init(GPIOB, &GPIO_InitStruct);

  /*Configure GPIO pin : VBUS_HS_Pin */
  GPIO_InitStruct.Pin = VBUS_HS_Pin;
  GPIO_InitStruct.Mode = GPIO_MODE_INPUT;
  GPIO_InitStruct.Pull = GPIO_NOPULL;
  HAL_GPIO_Init(VBUS_HS_GPIO_Port, &GPIO_InitStruct);

  /*Configure GPIO pins : D13_Pin D14_Pin D15_Pin D0_Pin
                           D1_Pin D2_Pin D3_Pin */
  GPIO_InitStruct.Pin = D13_Pin|D14_Pin|D15_Pin|D0_Pin
                          |D1_Pin|D2_Pin|D3_Pin;
  GPIO_InitStruct.Mode = GPIO_MODE_AF_PP;
  GPIO_InitStruct.Pull = GPIO_NOPULL;
  GPIO_InitStruct.Speed = GPIO_SPEED_FREQ_VERY_HIGH;
  GPIO_InitStruct.Alternate = GPIO_AF12_FMC;
  HAL_GPIO_Init(GPIOD, &GPIO_InitStruct);

  /*Configure GPIO pin : TE_Pin */
  GPIO_InitStruct.Pin = TE_Pin;
  GPIO_InitStruct.Mode = GPIO_MODE_INPUT;
  GPIO_InitStruct.Pull = GPIO_NOPULL;
  HAL_GPIO_Init(TE_GPIO_Port, &GPIO_InitStruct);

  /*Configure GPIO pins : RDX_Pin WRX_DCX_Pin */
  GPIO_InitStruct.Pin = RDX_Pin|WRX_DCX_Pin;
  GPIO_InitStruct.Mode = GPIO_MODE_OUTPUT_PP;
  GPIO_InitStruct.Pull = GPIO_NOPULL;
  GPIO_InitStruct.Speed = GPIO_SPEED_FREQ_LOW;
  HAL_GPIO_Init(GPIOD, &GPIO_InitStruct);

  /*Configure GPIO pins : R7_Pin DOTCLK_Pin B3_Pin */
  GPIO_InitStruct.Pin = R7_Pin|DOTCLK_Pin|B3_Pin;
  GPIO_InitStruct.Mode = GPIO_MODE_AF_PP;
  GPIO_InitStruct.Pull = GPIO_NOPULL;
  GPIO_InitStruct.Speed = GPIO_SPEED_FREQ_LOW;
  GPIO_InitStruct.Alternate = GPIO_AF14_LTDC;
  HAL_GPIO_Init(GPIOG, &GPIO_InitStruct);

  /*Configure GPIO pins : HSYNC_Pin G6_Pin R2_Pin */
  GPIO_InitStruct.Pin = HSYNC_Pin|G6_Pin|R2_Pin;
  GPIO_InitStruct.Mode = GPIO_MODE_AF_PP;
  GPIO_InitStruct.Pull = GPIO_NOPULL;
  GPIO_InitStruct.Speed = GPIO_SPEED_FREQ_LOW;
  GPIO_InitStruct.Alternate = GPIO_AF14_LTDC;
  HAL_GPIO_Init(GPIOC, &GPIO_InitStruct);

  /*Configure GPIO pin : I2C3_SDA_Pin */
  GPIO_InitStruct.Pin = I2C3_SDA_Pin;
  GPIO_InitStruct.Mode = GPIO_MODE_AF_OD;
  GPIO_InitStruct.Pull = GPIO_NOPULL;
  GPIO_InitStruct.Speed = GPIO_SPEED_FREQ_LOW;
  GPIO_InitStruct.Alternate = GPIO_AF4_I2C3;
  HAL_GPIO_Init(I2C3_SDA_GPIO_Port, &GPIO_InitStruct);

  /*Configure GPIO pin : I2C3_SCL_Pin */
  GPIO_InitStruct.Pin = I2C3_SCL_Pin;
  GPIO_InitStruct.Mode = GPIO_MODE_AF_OD;
  GPIO_InitStruct.Pull = GPIO_NOPULL;
  GPIO_InitStruct.Speed = GPIO_SPEED_FREQ_LOW;
  GPIO_InitStruct.Alternate = GPIO_AF4_I2C3;
  HAL_GPIO_Init(I2C3_SCL_GPIO_Port, &GPIO_InitStruct);

  /*Configure GPIO pins : STLINK_RX_Pin STLINK_TX_Pin */
  GPIO_InitStruct.Pin = STLINK_RX_Pin|STLINK_TX_Pin;
  GPIO_InitStruct.Mode = GPIO_MODE_AF_PP;
  GPIO_InitStruct.Pull = GPIO_NOPULL;
  GPIO_InitStruct.Speed = GPIO_SPEED_FREQ_VERY_HIGH;
  GPIO_InitStruct.Alternate = GPIO_AF7_USART1;
  HAL_GPIO_Init(GPIOA, &GPIO_InitStruct);

  /*Configure GPIO pins : G7_Pin B2_Pin */
  GPIO_InitStruct.Pin = G7_Pin|B2_Pin;
  GPIO_InitStruct.Mode = GPIO_MODE_AF_PP;
  GPIO_InitStruct.Pull = GPIO_NOPULL;
  GPIO_InitStruct.Speed = GPIO_SPEED_FREQ_LOW;
  GPIO_InitStruct.Alternate = GPIO_AF14_LTDC;
  HAL_GPIO_Init(GPIOD, &GPIO_InitStruct);

  /*Configure GPIO pins : G3_Pin B4_Pin */
  GPIO_InitStruct.Pin = G3_Pin|B4_Pin;
  GPIO_InitStruct.Mode = GPIO_MODE_AF_PP;
  GPIO_InitStruct.Pull = GPIO_NOPULL;
  GPIO_InitStruct.Speed = GPIO_SPEED_FREQ_LOW;
  GPIO_InitStruct.Alternate = GPIO_AF9_LTDC;
  HAL_GPIO_Init(GPIOG, &GPIO_InitStruct);

  /*Configure GPIO pins : LD3_Pin LD4_Pin */
  GPIO_InitStruct.Pin = LD3_Pin|LD4_Pin;
  GPIO_InitStruct.Mode = GPIO_MODE_OUTPUT_PP;
  GPIO_InitStruct.Pull = GPIO_NOPULL;
  GPIO_InitStruct.Speed = GPIO_SPEED_FREQ_LOW;
  HAL_GPIO_Init(GPIOG, &GPIO_InitStruct);

  /*Configure GPIO pins : SDCKE1_Pin SDNE1_Pin */
  GPIO_InitStruct.Pin = SDCKE1_Pin|SDNE1_Pin;
  GPIO_InitStruct.Mode = GPIO_MODE_AF_PP;
  GPIO_InitStruct.Pull = GPIO_NOPULL;
  GPIO_InitStruct.Speed = GPIO_SPEED_FREQ_VERY_HIGH;
  GPIO_InitStruct.Alternate = GPIO_AF12_FMC;
  HAL_GPIO_Init(GPIOB, &GPIO_InitStruct);

  /* EXTI interrupt init*/
  HAL_NVIC_SetPriority(EXTI0_IRQn, 6, 0);
  HAL_NVIC_EnableIRQ(EXTI0_IRQn);

}

/* USER CODE BEGIN 4 */
/* This function is called when External User Button is pressed and released a
falling edge is detected and EXTI is configured for falling edge.
rising edge is button pressed while falling edge is button released */
void Button_ISR_Handler( void )
{
  BaseType_t pxHigherPriorityTaskWoken;
  /* we also want the SeggerSystem View to track this interrupt we have to
  include the following statements for entry and exit */
  traceISR_ENTER();
  /* here we can't use xTaskNotify API here we have to the FromISR version as
  this is an ISR function */
  xTaskNotifyFromISR( next_task_handle, 0, eNoAction, &pxHigherPriorityTaskWoken);
  /* pxHigherPriorityTaskWoken is set to pdTRUE if sending the notification
  caused a task to unblock, and the unblocked task has the priority higher than
  the currently running task */
  if( pxHigherPriorityTaskWoken == pdTRUE )
  {
    /* As the task in unblocked, so we have to yield from the interrupt handler*/
    portYIELD_FROM_ISR(pxHigherPriorityTaskWoken);
  }

  traceISR_EXIT();
}

static void GreenLED_TaskHandler( void* parameter)
{
  BaseType_t status;
  while( 1 )
  {
    SEGGER_SYSVIEW_PrintfTarget("Green LED Task\n");
    /* Toggle On Board Green Led */
    HAL_GPIO_TogglePin(LD3_GPIO_Port, LD3_Pin);
    status = xTaskNotifyWait(0, 0, NULL, pdMS_TO_TICKS(1000) );
    if( status == pdTRUE )
    {
      /* this means that this task has received the notification and it's time
      to delete this task, but before deleting update the handle for next task*/
      /*NOTE: new_task_handle is a global variable and updating it directly can
      have some issues, as it is shared with other tasks also, so it's better to
      protect this variable unintentionally, this can be done by suspending and
      resuming the scheduler, but we can't do this here as done is last example
      because here this variable next_task_handler is also used in interrupt.
      So, in such cases we can use portENTER_CRITICAL & portEXIT_CRITICAL, these
      macros will disable the interrupts with priority value(note priority value)
      greater than configMAX_SYSCALL_INTERRUPT_PRIORITY, but high priority
      interrupts which means have lower priority values can still run */
      portENTER_CRITICAL();   /* PendSV is also deleted here, so this means that it will also disable the context switching */
      next_task_handle = red_led_task_handle;
      portEXIT_CRITICAL();
      /* before deleting turn on the LED permanently */
      HAL_GPIO_WritePin(LD3_GPIO_Port, LD3_Pin, GPIO_PIN_SET );
      /* passing NULL means deleting self */
      vTaskDelete(NULL);
    }
  }
}

static void RedLED_TaskHandler( void* parameter )
{
  BaseType_t status;
  while( 1 )
  {
    SEGGER_SYSVIEW_PrintfTarget("RED LED Task\n");
    /* Toggle On Board RED Led */
    HAL_GPIO_TogglePin(LD4_GPIO_Port, LD4_Pin);
    status = xTaskNotifyWait(0, 0, NULL, pdMS_TO_TICKS(500) );
    if( status == pdTRUE )
    {
      /* this means that this task has received the notification and it's time
      to delete this task, but before deleting update the handle for next task*/
      /*NOTE: new_task_handle is a global variable and updating it directly can
      have some issues, as it is shared with other tasks also, so it's better to
      protect this variable unintentionally, this can be done by suspending and
      resuming the scheduler, but we can't do this here as done is last example
      because here this variable next_task_handler is also used in interrupt.
      So, in such cases we can use portENTER_CRITICAL & portEXIT_CRITICAL, these
      macros will disable the interrupts with priority value(note priority value)
      greater than configMAX_SYSCALL_INTERRUPT_PRIORITY, but high priority
      interrupts which means have lower priority values can still run */
      portENTER_CRITICAL();
      next_task_handle = NULL;
      portEXIT_CRITICAL();
      /* before deleting turn on the LED permanently */
      HAL_GPIO_WritePin(LD4_GPIO_Port, LD4_Pin, GPIO_PIN_SET );
      /* passing NULL means deleting self */
      vTaskDelete(NULL);
    }
  }
}

/* USER CODE END 4 */

void HAL_TIM_PeriodElapsedCallback(TIM_HandleTypeDef *htim)
{
  if (htim->Instance == TIM6) {
    HAL_IncTick();
  }
}

void Error_Handler(void)
{
  __disable_irq();
  while (1)
  {
  }
}
